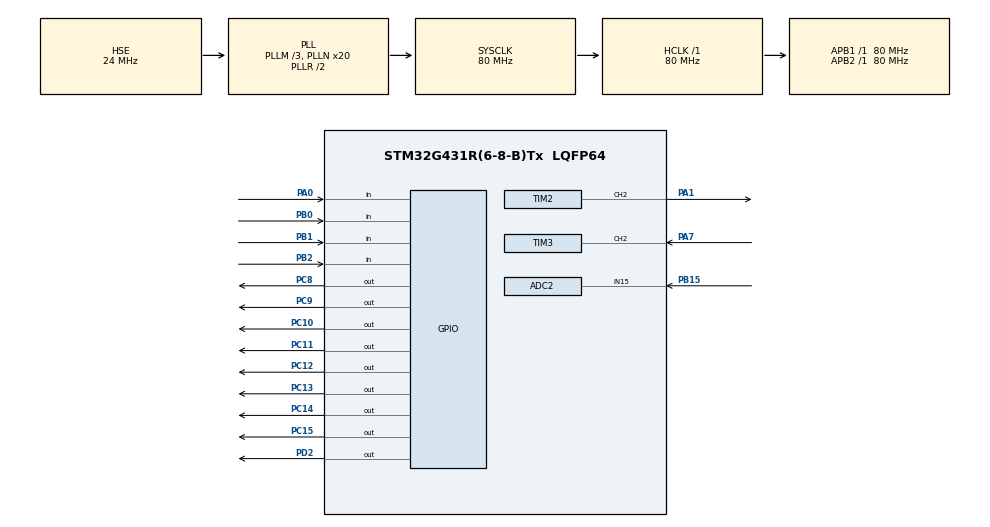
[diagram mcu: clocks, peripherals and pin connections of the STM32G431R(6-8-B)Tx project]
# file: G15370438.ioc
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ADC2.Channel-0\#ChannelRegularConversion=ADC_CHANNEL_15
ADC2.NbrOfConversionFlag=1
ADC2.OffsetNumber-0\#ChannelRegularConversion=ADC_OFFSET_NONE
ADC2.Rank-0\#ChannelRegularConversion=1
ADC2.SamplingTime-0\#ChannelRegularConversion=ADC_SAMPLETIME_640CYCLES_5
Mcu.Family=STM32G4
Mcu.Name=STM32G431R(6-8-B)Tx
Mcu.Package=LQFP64
NVIC.PriorityGroup=NVIC_PRIORITYGROUP_4
NVIC.TIM3_IRQn=true\:0\:0\:false\:false\:true\:true\:true
PA0.Signal=GPIO_Input
PA1.Signal=S_TIM2_CH2
PA7.Signal=S_TIM3_CH2
PB0.Signal=GPIO_Input
PB1.Signal=GPIO_Input
PB15.Mode=IN15-Single-Ended
PB15.Signal=ADC2_IN15
PB2.Signal=GPIO_Input
PC10.PinState=GPIO_PIN_SET
PC10.Signal=GPIO_Output
PC11.PinState=GPIO_PIN_SET
PC11.Signal=GPIO_Output
PC12.PinState=GPIO_PIN_SET
PC12.Signal=GPIO_Output
PC13.PinState=GPIO_PIN_SET
PC13.Signal=GPIO_Output
PC14-OSC32_IN.PinState=GPIO_PIN_SET
PC14-OSC32_IN.Signal=GPIO_Output
PC15-OSC32_OUT.PinState=GPIO_PIN_SET
PC15-OSC32_OUT.Signal=GPIO_Output
PC8.PinState=GPIO_PIN_SET
PC8.Signal=GPIO_Output
PC9.PinState=GPIO_PIN_SET
PC9.Signal=GPIO_Output
PD2.Signal=GPIO_Output
PF0-OSC_IN.Mode=HSE-External-Oscillator
PF0-OSC_IN.Signal=RCC_OSC_IN
PF1-OSC_OUT.Mode=HSE-External-Oscillator
PF1-OSC_OUT.Signal=RCC_OSC_OUT
ProjectManager.HeapSize=0x200
ProjectManager.StackSize=0x400
ProjectManager.TargetToolchain=MDK-ARM V5.27
RCC.ADC12Freq_Value=80000000
RCC.AHBFreq_Value=80000000
RCC.APB1Freq_Value=80000000
RCC.APB1TimFreq_Value=80000000
RCC.APB2Freq_Value=80000000
RCC.APB2TimFreq_Value=80000000
RCC.CortexFreq_Value=80000000
RCC.EXTERNAL_CLOCK_VALUE=12288000
RCC.HCLKFreq_Value=80000000
RCC.HSE_VALUE=24000000
RCC.HSI48_VALUE=48000000
RCC.HSI_VALUE=16000000
RCC.LSE_VALUE=32768
RCC.PLLM=RCC_PLLM_DIV3
RCC.PLLN=20
RCC.PLLSourceVirtual=RCC_PLLSOURCE_HSE
RCC.SYSCLKFreq_VALUE=80000000
RCC.SYSCLKSource=RCC_SYSCLKSOURCE_PLLCLK
RCC.USBFreq_Value=80000000
RCC.VCOOutputFreq_Value=160000000
SH.S_TIM2_CH2.0=TIM2_CH2,PWM Generation2 CH2
SH.S_TIM3_CH2.0=TIM3_CH2,Input_Capture2_from_TI2
TIM2.AutoReloadPreload=TIM_AUTORELOAD_PRELOAD_ENABLE
TIM2.Channel-PWM\ Generation2\ CH2=TIM_CHANNEL_2
TIM2.PeriodNoDither=500
TIM2.Prescaler=39
TIM2.PulseNoDither_2=250
TIM3.AutoReloadPreload=TIM_AUTORELOAD_PRELOAD_ENABLE
TIM3.Channel-Input_Capture2_from_TI2=TIM_CHANNEL_2
TIM3.PeriodNoDither=65535
TIM3.Prescaler=79
VP_SYS_VS_DBSignals.Mode=DisableDeadBatterySignals
VP_TIM2_VS_ClockSourceINT.Mode=Internal
board=custom

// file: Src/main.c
/* USER CODE BEGIN Header */
/**
  ******************************************************************************
  * @file           : main.c
  * @brief          : Main program body
  ******************************************************************************
  * @attention
  *
  * <h2><center>&copy; Copyright (c) 2024 STMicroelectronics.
  * All rights reserved.</center></h2>
  *
  * This software component is licensed by ST under BSD 3-Clause license,
  * the "License"; You may not use this file except in compliance with the
  * License. You may obtain a copy of the License at:
  *                        opensource.org/licenses/BSD-3-Clause
  *
  ******************************************************************************
  */
/* USER CODE END Header */
#include "main.h"
#include "adc.h"
#include "tim.h"
#include "gpio.h"

/* USER CODE BEGIN Includes */
#include "lcd.h"
#include <stdio.h>
#include "led.h"
/* USER CODE END Includes */

/* USER CODE BEGIN PTD */
typedef enum
{
	Key_Check,
	Key_Press,
	Key_Release,
	Key_Over
}Key_State;
/* USER CODE END PTD */

/* USER CODE BEGIN PD */
#define K1 HAL_GPIO_ReadPin(GPIOB, GPIO_PIN_0)
#define K2 HAL_GPIO_ReadPin(GPIOB, GPIO_PIN_1)
#define K3 HAL_GPIO_ReadPin(GPIOB, GPIO_PIN_2)
#define K4 HAL_GPIO_ReadPin(GPIOA, GPIO_PIN_0)

#define Press GPIO_PIN_RESET
#define Release GPIO_PIN_SET
/* USER CODE END PD */

/* USER CODE BEGIN PV */
Key_State KeyState = Key_Check;
uint8_t KeyNum;
uint16_t Key_Press_Time = 20;
uint8_t Str[20];
float Duty, Volt, V, V_MH, V_ML;
uint8_t ShowSelect = 0, Mode_PWM, R = 1, R_Temp = 1, K = 1, K_Temp = 1, N_PWM = 0, RK_Select, LOCK_Duty = 0, Flag_K2_PWM;
uint16_t AutoReload = 500, Freq = 4000, Freq_IC_Value, Freq_IC;
/* USER CODE END PV */

void SystemClock_Config(void);
/* USER CODE BEGIN PFP */
void Key_Scan(void);

/* USER CODE END PFP */

/* USER CODE BEGIN 0 */
float getADC_R37(void);
void LCD_Show(void);

void HAL_TIM_IC_CaptureCallback(TIM_HandleTypeDef * htim)
{
	if(htim ->Instance == TIM3)
	{
		if(htim->Channel == HAL_TIM_ACTIVE_CHANNEL_2)
		{
			Freq_IC_Value = __HAL_TIM_GET_COUNTER(&htim3);
			__HAL_TIM_SetCounter(&htim3, 0);
			Freq_IC = 1000000 / Freq_IC_Value;
			HAL_TIM_IC_Start_IT(&htim3, TIM_CHANNEL_2);
		}
	}

}
/* USER CODE END 0 */

int main(void)
{

  /* MCU Configuration--------------------------------------------------------*/

  /* Reset of all peripherals, Initializes the Flash interface and the Systick. */
  HAL_Init();

  /* Configure the system clock */
  SystemClock_Config();

  /* Initialize all configured peripherals */
  MX_GPIO_Init();
  MX_ADC2_Init();
  MX_TIM2_Init();
  MX_TIM3_Init();
  /* USER CODE BEGIN 2 */
  LED_Init();

  LCD_Init();
  LCD_Clear(Black);
  LCD_SetBackColor(Black);
  LCD_SetTextColor(White);

  HAL_TIM_PWM_Start_IT(&htim2, TIM_CHANNEL_2);
  __HAL_TIM_CLEAR_IT(&htim2, TIM_CHANNEL_2);
  Duty = 50;//50%

  HAL_TIM_IC_Start_IT(&htim3, TIM_CHANNEL_2);
  /* USER CODE END 2 */

  /* Infinite loop */
  /* USER CODE BEGIN WHILE */
  while (1)
  {
	  Volt = getADC_R37();
	  sprintf((char *)Str, "     %.2f", Volt);
      LCD_DisplayStringLine(Line6, Str);

	  if(KeyState == Key_Over)
	  {
		  KeyState = Key_Check;
		  if(KeyNum == 1)
		  {
			  ShowSelect ++;
			  if(ShowSelect == 1)RK_Select = 0;
			  else if(ShowSelect == 2)
			  {
				  R = R_Temp;
				  K = K_Temp;
			  }
			  ShowSelect %= 3;
		  }
		  else if(KeyNum == 2)
		  {
			  if(ShowSelect == 0 && Flag_K2_PWM == 0)
			  {
				  Mode_PWM = !Mode_PWM;
				  N_PWM++;
				  Flag_K2_PWM = 1;//5000ms
				  LOCK_Duty = 1;
			  }
			  else if(ShowSelect == 1)
			  {
				  RK_Select = !RK_Select;
			  }
		  }
		  else if(KeyNum == 3)
		  {
			  if(ShowSelect == 1)
			  {
				  if(RK_Select == 0)
				  {
					  R_Temp++;
					  if(R_Temp == 11)R_Temp = 1;
				  }
				  else if(RK_Select == 1)
				  {
					  K_Temp++;
					  if(K_Temp == 11)K_Temp = 1;
				  }
			  }
		  }
		  else if(KeyNum == 4 && Key_Press_Time < 2000)
		  {
			  if(ShowSelect == 1)
			  {
				  if(RK_Select == 0)
				  {
					  R_Temp--;
					  if(R_Temp == 0)R_Temp = 10;
				  }
				  else if(RK_Select == 1)
				  {
					  K_Temp--;
					  if(K_Temp == 0)K_Temp = 10;
				  }
			  }
			  if(ShowSelect == 0)
			  {
				  if(LOCK_Duty == 1)LOCK_Duty = 0;//解锁
			  }
		  }
		  else if(KeyNum == 4 && Key_Press_Time >= 2000)
		  {
		      if(ShowSelect == 0)
			  {
				  LOCK_Duty = 1;
			  }
		  }
		  Key_Press_Time = 0;
	  }

	  if(LOCK_Duty == 0)
	  {

		  if(Volt < 1.0f)
		  {
			  Duty = 10.0f;//10%
		  }
		  else if(Volt < 3.0f && Volt > 1.0f)
		  {
			  Duty = 37.5f * Volt - 27.5f;
		  }
		  else
		  {
			  Duty = 85.0f;
		  }
	  }

      __HAL_TIM_SET_COMPARE(&htim2, TIM_CHANNEL_2, Duty / 100.0f  * AutoReload);//
//	  htim3.Instance->CCR2 = ...输出比较�?
	  __HAL_TIM_SetAutoreload(&htim2, AutoReload);
//	  htim3.Instance->ARR = ...自动重装载�??

	  V = Freq_IC * 2 * 3.14f * R / (100.0f * K);
	  V_MH = 8000 * 2 * 3.14f * R / (100.0f * K);
	  V_ML = 4000 * 2 * 3.14f * R / (100.0f * K);

	  if(ShowSelect == 0)LED_ON(1);
	  else LED_OFF(1);

	  if(LOCK_Duty == 1)LED_ON(3);
	  else LED_OFF(3);

	  LCD_Show();
    /* USER CODE END WHILE */

  }
}

void SystemClock_Config(void)
{
  RCC_OscInitTypeDef RCC_OscInitStruct = {0};
  RCC_ClkInitTypeDef RCC_ClkInitStruct = {0};
  RCC_PeriphCLKInitTypeDef PeriphClkInit = {0};

  /** Configure the main internal regulator output voltage
  */
  HAL_PWREx_ControlVoltageScaling(PWR_REGULATOR_VOLTAGE_SCALE1);
  /** Initializes the RCC Oscillators according to the specified parameters
  * in the RCC_OscInitTypeDef structure.
  */
  RCC_OscInitStruct.OscillatorType = RCC_OSCILLATORTYPE_HSE;
  RCC_OscInitStruct.HSEState = RCC_HSE_ON;
  RCC_OscInitStruct.PLL.PLLState = RCC_PLL_ON;
  RCC_OscInitStruct.PLL.PLLSource = RCC_PLLSOURCE_HSE;
  RCC_OscInitStruct.PLL.PLLM = RCC_PLLM_DIV3;
  RCC_OscInitStruct.PLL.PLLN = 20;
  RCC_OscInitStruct.PLL.PLLP = RCC_PLLP_DIV2;
  RCC_OscInitStruct.PLL.PLLQ = RCC_PLLQ_DIV2;
  RCC_OscInitStruct.PLL.PLLR = RCC_PLLR_DIV2;
  if (HAL_RCC_OscConfig(&RCC_OscInitStruct) != HAL_OK)
  {
    Error_Handler();
  }
  /** Initializes the CPU, AHB and APB buses clocks
  */
  RCC_ClkInitStruct.ClockType = RCC_CLOCKTYPE_HCLK|RCC_CLOCKTYPE_SYSCLK
                              |RCC_CLOCKTYPE_PCLK1|RCC_CLOCKTYPE_PCLK2;
  RCC_ClkInitStruct.SYSCLKSource = RCC_SYSCLKSOURCE_PLLCLK;
  RCC_ClkInitStruct.AHBCLKDivider = RCC_SYSCLK_DIV1;
  RCC_ClkInitStruct.APB1CLKDivider = RCC_HCLK_DIV1;
  RCC_ClkInitStruct.APB2CLKDivider = RCC_HCLK_DIV1;

  if (HAL_RCC_ClockConfig(&RCC_ClkInitStruct, FLASH_LATENCY_2) != HAL_OK)
  {
    Error_Handler();
  }
  /** Initializes the peripherals clocks
  */
  PeriphClkInit.PeriphClockSelection = RCC_PERIPHCLK_ADC12;
  PeriphClkInit.Adc12ClockSelection = RCC_ADC12CLKSOURCE_SYSCLK;
  if (HAL_RCCEx_PeriphCLKConfig(&PeriphClkInit) != HAL_OK)
  {
    Error_Handler();
  }
}

/* USER CODE BEGIN 4 */
void LCD_Show(void)
{
	if(ShowSelect == 0)//数据界面
	  {
		  LCD_DisplayStringLine(Line1, (uint8_t *)"        DATA");
		  if(Mode_PWM == 0 && Freq == 4000)
		  {
			  sprintf((char *)Str, "     M=L");
			  LCD_DisplayStringLine(Line3, Str);
		  }
		  else if(Mode_PWM == 1&& Freq == 8000)
		  {
			  sprintf((char *)Str, "     M=H   ");
			  LCD_DisplayStringLine(Line3, Str);
		  }
		  sprintf((char *)Str, "     P=%.0f%%  ", Duty);
		  LCD_DisplayStringLine(Line4, Str);
		  sprintf((char *)Str, "     V=%.1f    ", V);
		  LCD_DisplayStringLine(Line5, Str);
	  }
	  else if(ShowSelect == 1)//参数界面
	  {
		  LCD_DisplayStringLine(Line1, (uint8_t *)"        PARA");
		  sprintf((char *)Str, "     R=%d   ", R_Temp);
		  LCD_DisplayStringLine(Line3, Str);
		  sprintf((char *)Str, "     K=%d   ", K_Temp);
		  LCD_DisplayStringLine(Line4, Str);
		  LCD_DisplayStringLine(Line5, (uint8_t *)"               ");
	  }
	  else if(ShowSelect == 2)//统计界面
	  {
		  LCD_DisplayStringLine(Line1, (uint8_t *)"        RECD");
		  sprintf((char *)Str, "     N=%d   ", N_PWM);
		  LCD_DisplayStringLine(Line3, Str);
		  sprintf((char *)Str, "     MH=%.1f    ", V_MH);
		  LCD_DisplayStringLine(Line4, Str);
		  sprintf((char *)Str, "     ML=%.1f    ", V_ML);
		  LCD_DisplayStringLine(Line5, Str);
	  }
}
void Key_Scan(void)
{
	switch(KeyState)
	{
		case Key_Check:
		{
			if(K1 == Press || K2 == Press || K3 == Press || K4 == Press)
			{
				KeyState = Key_Press;
			}
		}
		break;
		case Key_Press:
		{
			if(K1 == Press)KeyNum = 1;
			else if(K2 == Press)KeyNum = 2;
			else if(K3 == Press)KeyNum = 3;
			else if(K4 == Press)KeyNum = 4;
			KeyState = Key_Release;
		}
		break;
		case Key_Release:
		{
			if(K1 == Press || K2 == Press || K3 == Press || K4 == Press)
			{
				Key_Press_Time += 10;
			}
			else
			{
				KeyState = Key_Over;
			}
		}
		break;
		default:
		break;
	}
}

float getADC_R37(void)
{
	uint16_t temp;
	HAL_ADC_Start(&hadc2);
	HAL_ADC_PollForConversion(&hadc2, 10);
	temp = HAL_ADC_GetValue(&hadc2);
	HAL_ADC_Stop(&hadc2);
	return (temp * 3.3f / 4096);
}
/* USER CODE END 4 */

void Error_Handler(void)
{
}

/************************ (C) COPYRIGHT STMicroelectronics *****END OF FILE****/
